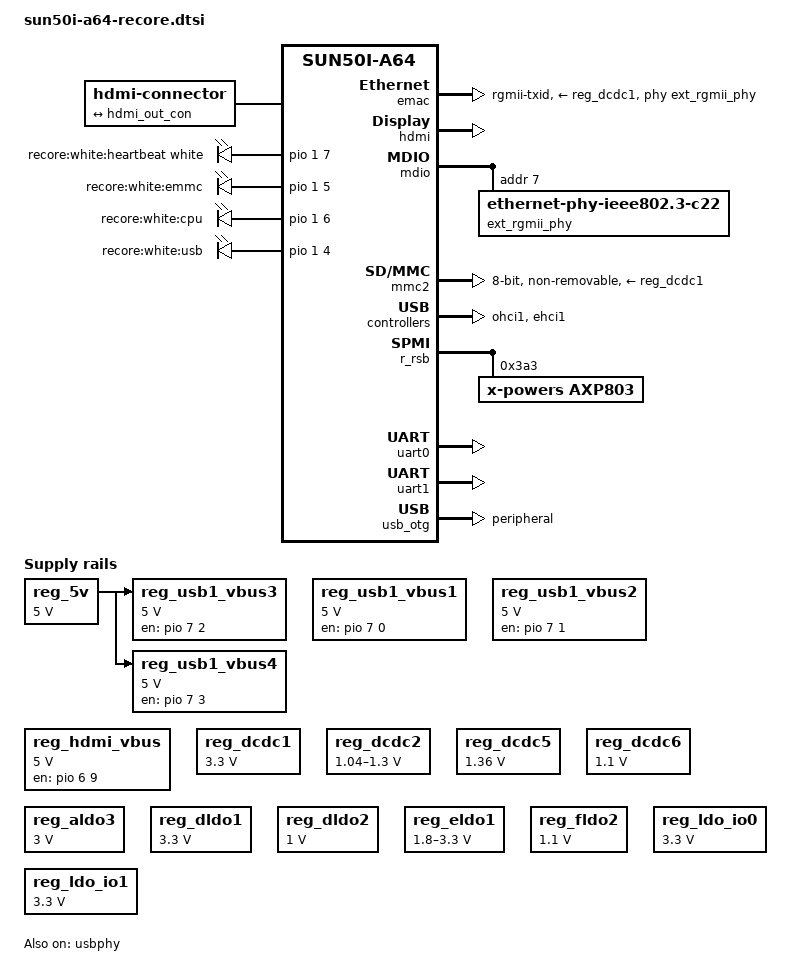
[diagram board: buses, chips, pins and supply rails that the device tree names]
// SPDX-License-Identifier: (GPL-2.0+ OR MIT)

/dts-v1/;

#include "sun50i-a64.dtsi"
#include "sun50i-a64-cpu-opp.dtsi"

#include <dt-bindings/gpio/gpio.h>
#include <dt-bindings/leds/common.h>

/ {
	aliases {
		ethernet0 = &emac;
		serial0 = &uart0;
	};

	chosen {
		stdout-path = "serial0:115200n8";
	};

	reserved-memory {
		#address-cells = <1>;
		#size-cells = <1>;
		ranges;

		atf_reserved: atf@40000000 {
			reg = <0x40000000 0x100000>;
			no-map;
		};
	};

	hdmi-connector {
		compatible = "hdmi-connector";
		type = "a";

		port {
			hdmi_con_in: endpoint {
				remote-endpoint = <&hdmi_out_con>;
			};
		};
	};

	leds {
		compatible = "gpio-leds";

		heartbeat-led {
			label = "recore:white:heartbeat";
			gpios = <&pio 1 7 GPIO_ACTIVE_HIGH>;
			linux,default-trigger = "heartbeat";
			function = LED_FUNCTION_STATUS;
			color = <LED_COLOR_ID_WHITE>;
		};

		emmc-led {
			label = "recore:white:emmc";
			gpios = <&pio 1 5 GPIO_ACTIVE_HIGH>;
			linux,default-trigger = "mmc2";
		};

		cpu-led {
			label = "recore:white:cpu";
			gpios = <&pio 1 6 GPIO_ACTIVE_HIGH>;
			linux,default-trigger = "activity";
		};

		usb-led {
			label = "recore:white:usb";
			function = LED_FUNCTION_USB;
			gpios = <&pio 1 4 GPIO_ACTIVE_HIGH>;
			trigger-sources = <&ohci1>, <&ehci1>;
			linux,default-trigger = "usb-host";
		};
	};

	reg_5v: 5v-buck {
		compatible = "regulator-fixed";
		regulator-name = "5v-buck";
		regulator-min-microvolt = <5000000>;
		regulator-max-microvolt = <5000000>;
		regulator-always-on;
	};

	reg_usb1_vbus1: usb1-vbus1 {
		compatible = "regulator-fixed";
		regulator-name = "usb1-vbus1";
		gpio = <&pio 7 0 GPIO_ACTIVE_HIGH>; /* PH0 */
		regulator-min-microvolt = <5000000>;
		regulator-max-microvolt = <5000000>;
		regulator-always-on;
		regulator-boot-on;
		enable-active-high;
	};

	reg_usb1_vbus2: usb1-vbus2 {
		compatible = "regulator-fixed";
		regulator-name = "usb1-vbus2";
		gpio = <&pio 7 1 GPIO_ACTIVE_HIGH>; /* PH1 */
		regulator-min-microvolt = <5000000>;
		regulator-max-microvolt = <5000000>;
		regulator-always-on;
		regulator-boot-on;
		enable-active-high;
	};

	reg_usb1_vbus3: usb1-vbus3 {
		compatible = "regulator-fixed";
		regulator-name = "usb1-vbus3";
		gpio = <&pio 7 2 GPIO_ACTIVE_HIGH>; /* PH2 */
		regulator-min-microvolt = <5000000>;
		regulator-max-microvolt = <5000000>;
		regulator-always-on;
		regulator-boot-on;
		enable-active-high;
		vin-supply = <&reg_5v>;
	};

	reg_usb1_vbus4: usb1-vbus4 {
		compatible = "regulator-fixed";
		regulator-name = "usb1-vbus4";
		gpio = <&pio 7 3 GPIO_ACTIVE_HIGH>; /* PH3 */
		regulator-min-microvolt = <5000000>;
		regulator-max-microvolt = <5000000>;
		startup-delay-us = <100000>;
		regulator-always-on;
		regulator-boot-on;
		enable-active-high;
		vin-supply = <&reg_5v>;
	};

	reg_hdmi_vbus: hdmi-vbus {
		compatible = "regulator-fixed";
		regulator-name = "hdmi-vbus";
		gpio = <&pio 6 9 GPIO_ACTIVE_HIGH>; /* PG9 */
		regulator-min-microvolt = <5000000>;
		regulator-max-microvolt = <5000000>;
		regulator-always-on;
		regulator-boot-on;
		enable-active-high;
	};
};

&de {
	status = "disabled";
};

&cpu0 {
	cpu-supply = <&reg_dcdc2>;
};

&cpu1 {
	cpu-supply = <&reg_dcdc2>;
};

&cpu2 {
	cpu-supply = <&reg_dcdc2>;
};

&cpu3 {
	cpu-supply = <&reg_dcdc2>;
};

&emac {
	pinctrl-names = "default";
	pinctrl-0 = <&rgmii_pins>;
	phy-mode = "rgmii-txid";
	phy-handle = <&ext_rgmii_phy>;
	phy-supply = <&reg_dcdc1>;
	phy-io-supply = <&reg_dcdc1>;
	status = "okay";
};

&hdmi {
	hvcc-supply = <&reg_dldo1>;
	status = "okay";
};

&hdmi_out {
	hdmi_out_con: endpoint {
		remote-endpoint = <&hdmi_con_in>;
	};
};

&mdio {
	ext_rgmii_phy: ethernet-phy@1 {
		compatible = "ethernet-phy-ieee802.3-c22";
		reg = <7>;
	};
};

&mixer0 {
	status = "disabled";
};

&tcon0 {
	status = "disabled";
};

&mmc2 {
	pinctrl-names = "default";
	pinctrl-0 = <&mmc2_pins>;
	vmmc-supply = <&reg_dcdc1>;
	vqmmc-supply = <&reg_eldo1>;
	non-removable;
	bus-width = <8>;
	cap-mmc-hw-reset;
	mmc-hs200-1_8v;
	post-power-on-delay-ms = <1>; /* power is already turned on by the bootloader */
	status = "okay";
};

&ohci1 {
	status = "okay";
};

&ehci1 {
	status = "okay";
};

&pio {
	vcc-pb-supply = <&reg_dcdc1>;
	vcc-pc-supply = <&reg_eldo1>;
	vcc-pd-supply = <&reg_dcdc1>;
	vcc-pe-supply = <&reg_dcdc1>;
	vcc-pf-supply = <&reg_dcdc1>;
	vcc-pg-supply = <&reg_dcdc1>;
	vcc-ph-supply = <&reg_dcdc1>;
};

&r_rsb {
	status = "okay";
	axp803: pmic@3a3 {
		compatible = "x-powers,axp803";
		reg = <0x3a3>;
		interrupt-parent = <&r_intc>;
		interrupts = <GIC_SPI 32 IRQ_TYPE_LEVEL_LOW>;
	};
};

#include "axp803.dtsi"

&ac_power_supply {
	status = "okay";
};

&battery_power_supply {
	status = "okay";
};

&reg_dc1sw {
	regulator-always-on;
	regulator-name = "vcc-phy";
	regulator-enable-ramp-delay = <100000>;
};

&reg_dcdc1 {
	regulator-always-on;
	regulator-min-microvolt = <3300000>;
	regulator-max-microvolt = <3300000>;
	regulator-name = "vcc-3v3";
};

&reg_dcdc2 {
	regulator-always-on;
	regulator-min-microvolt = <1040000>;
	regulator-max-microvolt = <1300000>;
	regulator-name = "vdd-cpux";
};

&reg_dcdc5 {
	regulator-always-on;
	regulator-min-microvolt = <1360000>;
	regulator-max-microvolt = <1360000>;
	regulator-name = "vcc-dram";
};

&reg_dcdc6 {
	regulator-always-on;
	regulator-min-microvolt = <1100000>;
	regulator-max-microvolt = <1100000>;
	regulator-name = "vdd-sys";
};

&reg_aldo3 {
	regulator-always-on;
	regulator-min-microvolt = <3000000>;
	regulator-max-microvolt = <3000000>;
	regulator-name = "vcc-pll-avcc";
};

&reg_dldo1 {
	regulator-always-on;
	regulator-min-microvolt = <3300000>;
	regulator-max-microvolt = <3300000>;
	regulator-name = "vcc-hdmi";
};

/* Set over current to lowest value: 35 A = 700 mV, 50 A = 1000 mV */
&reg_dldo2 {
	regulator-always-on;
	regulator-min-microvolt = <1000000>;
	regulator-max-microvolt = <1000000>;
	regulator-name = "current-control";
};

&reg_eldo1 {
	regulator-boot-on;
	regulator-min-microvolt = <1800000>;
	regulator-max-microvolt = <3300000>;
	regulator-name = "emmc-io";
};

&reg_fldo1 {
	regulator-name = "vdd-hsic";
	status = "disabled";
};

&reg_fldo2 {
	regulator-always-on;
	regulator-min-microvolt = <1100000>;
	regulator-max-microvolt = <1100000>;
	regulator-name = "vdd-cpus";
};

&reg_ldo_io0 {
	function = "ldo";
};

&reg_ldo_io1 {
	function = "ldo";
};

&reg_ldo_io0 {
	regulator-always-on;
	regulator-min-microvolt = <3300000>;
	regulator-max-microvolt = <3300000>;
	regulator-name = "vcc-ref";
	status = "okay";
};

&reg_ldo_io1 {
	regulator-always-on;
	regulator-min-microvolt = <3300000>;
	regulator-max-microvolt = <3300000>;
	regulator-name = "vcc-iref";
	status = "okay";
};

&reg_rtc_ldo {
	regulator-name = "vcc-rtc";
};

&simplefb_hdmi {
	vcc-hdmi-supply = <&reg_hdmi_vbus>;
};

/* Debug port */
&uart0 {
	pinctrl-names = "default";
	pinctrl-0 = <&uart0_pb_pins>;
	status = "okay";
};

/* AR100 null-modem */
&uart1 {
	pinctrl-names = "default";
	pinctrl-0 = <&uart1_pins>;
	status = "okay";
};

&usb_otg {
	dr_mode = "peripheral";
	vcc-supply = <&reg_dcdc1>;
	status = "okay";
};

&usb_power_supply {
	status = "okay";
};

&usbphy {
	status = "okay";
};

/delete-node/ &{/chosen/framebuffer-lcd};
